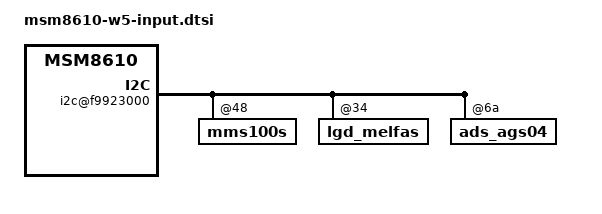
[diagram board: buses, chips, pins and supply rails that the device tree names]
/* Copyright (c) 2012, Code Aurora Forum. All rights reserved.
 *
 * This program is free software; you can redistribute it and/or modify
 * it under the terms of the GNU General Public License version 2 and
 * only version 2 as published by the Free Software Foundation.
 *
 * This program is distributed in the hope that it will be useful,
 * but WITHOUT ANY WARRANTY; without even the implied warranty of
 * MERCHANTABILITY or FITNESS FOR A PARTICULAR PURPOSE.  See the
 * GNU General Public License for more details.
 */

&soc {
	i2c@f9923000{
		mms100s@48 {
			melfas,product = "W5";
			melfas,max-x = <480>;
			melfas,max-y = <800>;
			melfas,gpio-vdd-en = <62>;
			melfas,key-map = <158 139>;
			melfas,fw-image-name = "melfas/w5_open_eu/w5_open_eu_v01.mfsb";
			status = "ok";
			revision = "rev_b...";
		};

		lgd_melfas@34 {
			status = "ok";
			revision = "rev_a";
		};

		ads_ags04@6a {
			status = "ok";
			revision = "rev_a";
		};
	};
};
